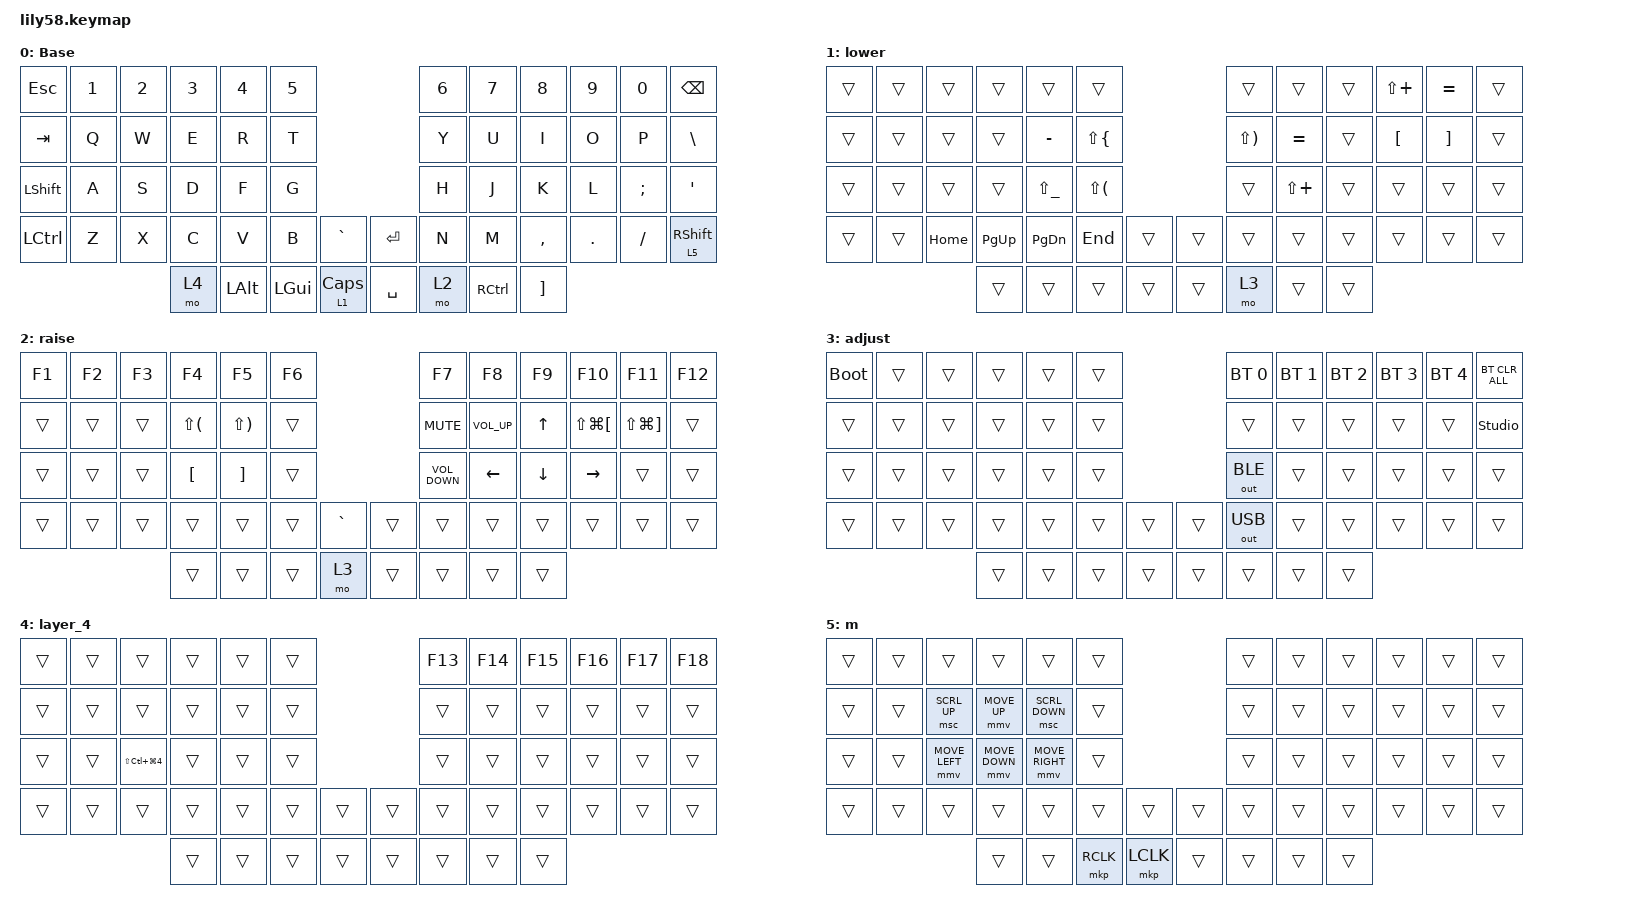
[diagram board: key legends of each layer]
/*
 * Copyright (c) 2020 The ZMK Contributors
 *
 * SPDX-License-Identifier: MIT
 */

#include <behaviors.dtsi>
#include <dt-bindings/zmk/bt.h>
#include <dt-bindings/zmk/keys.h>
#include <dt-bindings/zmk/outputs.h>
#include <dt-bindings/zmk/pointing.h>

/ {
    combos {
        compatible = "zmk,combos";

        l-bracket {
            bindings = <&kp LEFT_BRACKET>;
            key-positions = <16 17>;
        };

        r-bracket {
            bindings = <&kp RIGHT_BRACKET>;
            key-positions = <18 19>;
        };

        esc {
            bindings = <&kp ESC>;
            key-positions = <28 27>;
        };
    };

    keymap {
        compatible = "zmk,keymap";

        default_layer {
            // ------------------------------------------------------------------------------------------------------------
            // |  ESC  |  1  |  2  |  3   |  4   |  5   |                   |  6   |  7    |  8    |  9   |   0   |   `   |
            // |  TAB  |  Q  |  W  |  E   |  R   |  T   |                   |  Y   |  U    |  I    |  O   |   P   |   -   |
            // |  CTRL |  A  |  S  |  D   |  F   |  G   |                   |  H   |  J    |  K    |  L   |   ;   |   '   |
            // | SHIFT |  Z  |  X  |  C   |  V   |  B   |   "["  |  |  "]"  |  N   |  M    |  ,    |  .   |   /   | SHIFT |
            //                     | ALT  | GUI  | LOWER|  SPACE |  | ENTER | RAISE| BSPC  | GUI   |

            display-name = "Base";
            bindings = <
&kp ESC           &kp N1  &kp N2  &kp N3  &kp N4    &kp N5                                 &kp N6  &kp N7             &kp N8     &kp N9   &kp N0    &kp BSPC
&kp TAB           &kp Q   &kp W   &kp E   &kp R     &kp T                                  &kp Y   &kp U              &kp I      &kp O    &kp P     &kp BACKSLASH
&kp LSHFT         &kp A   &kp S   &kp D   &kp F     &kp G                                  &kp H   &kp J              &kp K      &kp L    &kp SEMI  &kp SQT
&kp LEFT_CONTROL  &kp Z   &kp X   &kp C   &kp V     &kp B     &kp GRAVE         &kp RET    &kp N   &kp M              &kp COMMA  &kp DOT  &kp FSLH  &lt 5 RIGHT_SHIFT
                                  &mo 4   &kp LALT  &kp LGUI  &lt 1 CAPSLOCK    &kp SPACE  &mo 2   &kp RIGHT_CONTROL  &kp RBKT
            >;
        };

        lower {
            bindings = <
&trans  &trans  &trans    &trans     &trans         &trans                          &trans        &trans        &trans  &kp LS(PLUS)  &kp EQUAL  &trans
&trans  &trans  &trans    &trans     &kp MINUS      &kp LS(LBRC)                    &kp LS(RPAR)  &kp EQUAL     &trans  &kp LBKT      &kp RBKT   &trans
&trans  &trans  &trans    &trans     &kp LS(UNDER)  &kp LS(LPAR)                    &trans        &kp LS(PLUS)  &trans  &trans        &trans     &trans
&trans  &trans  &kp HOME  &kp PG_UP  &kp PAGE_DOWN  &kp END       &trans    &trans  &trans        &trans        &trans  &trans        &trans     &trans
                          &trans     &trans         &trans        &trans    &trans  &mo 3         &trans        &trans
            >;
        };

        raise {
            bindings = <
&kp F1  &kp F2  &kp F3  &kp F4        &kp F5        &kp F6                       &kp F7             &kp F8        &kp F9    &kp F10                   &kp F11                    &kp F12
&trans  &trans  &trans  &kp LS(LPAR)  &kp LS(RPAR)  &trans                       &kp K_MUTE         &kp K_VOL_UP  &kp UP    &kp LS(LG(LEFT_BRACKET))  &kp LS(LG(RIGHT_BRACKET))  &trans
&trans  &trans  &trans  &kp LBKT      &kp RBKT      &trans                       &kp K_VOLUME_DOWN  &kp LEFT      &kp DOWN  &kp RIGHT                 &trans                     &trans
&trans  &trans  &trans  &trans        &trans        &trans  &kp GRAVE    &trans  &trans             &trans        &trans    &trans                    &trans                     &trans
                        &trans        &trans        &trans  &mo 3        &trans  &trans             &trans        &trans
            >;
        };

        adjust {
            bindings = <
&bootloader  &trans  &trans  &trans  &trans  &trans                    &bt BT_SEL 0  &bt BT_SEL 1  &bt BT_SEL 2  &bt BT_SEL 3  &bt BT_SEL 4  &bt BT_CLR_ALL
&trans       &trans  &trans  &trans  &trans  &trans                    &trans        &trans        &trans        &trans        &trans        &studio_unlock
&trans       &trans  &trans  &trans  &trans  &trans                    &out OUT_BLE  &trans        &trans        &trans        &trans        &trans
&trans       &trans  &trans  &trans  &trans  &trans  &trans    &trans  &out OUT_USB  &trans        &trans        &trans        &trans        &trans
                             &trans  &trans  &trans  &trans    &trans  &trans        &trans        &trans
            >;
        };

        layer_4 {
            bindings = <
&trans  &trans  &trans                    &trans  &trans  &trans                    &kp F13  &kp F14  &kp F15  &kp F16  &kp F17  &kp F18
&trans  &trans  &trans                    &trans  &trans  &trans                    &trans   &trans   &trans   &trans   &trans   &trans
&trans  &trans  &kp LS(LC(LG(NUMBER_4)))  &trans  &trans  &trans                    &trans   &trans   &trans   &trans   &trans   &trans
&trans  &trans  &trans                    &trans  &trans  &trans  &trans    &trans  &trans   &trans   &trans   &trans   &trans   &trans
                                          &trans  &trans  &trans  &trans    &trans  &trans   &trans   &trans
            >;
        };

        m {
            bindings = <
&trans  &trans  &trans          &trans          &trans           &trans                          &trans  &trans  &trans  &trans  &trans  &trans
&trans  &trans  &msc SCRL_UP    &mmv MOVE_UP    &msc SCRL_DOWN   &trans                          &trans  &trans  &trans  &trans  &trans  &trans
&trans  &trans  &mmv MOVE_LEFT  &mmv MOVE_DOWN  &mmv MOVE_RIGHT  &trans                          &trans  &trans  &trans  &trans  &trans  &trans
&trans  &trans  &trans          &trans          &trans           &trans     &trans       &trans  &trans  &trans  &trans  &trans  &trans  &trans
                                &trans          &trans           &mkp RCLK  &mkp LCLK    &trans  &trans  &trans  &trans
            >;
        };
    };
};
